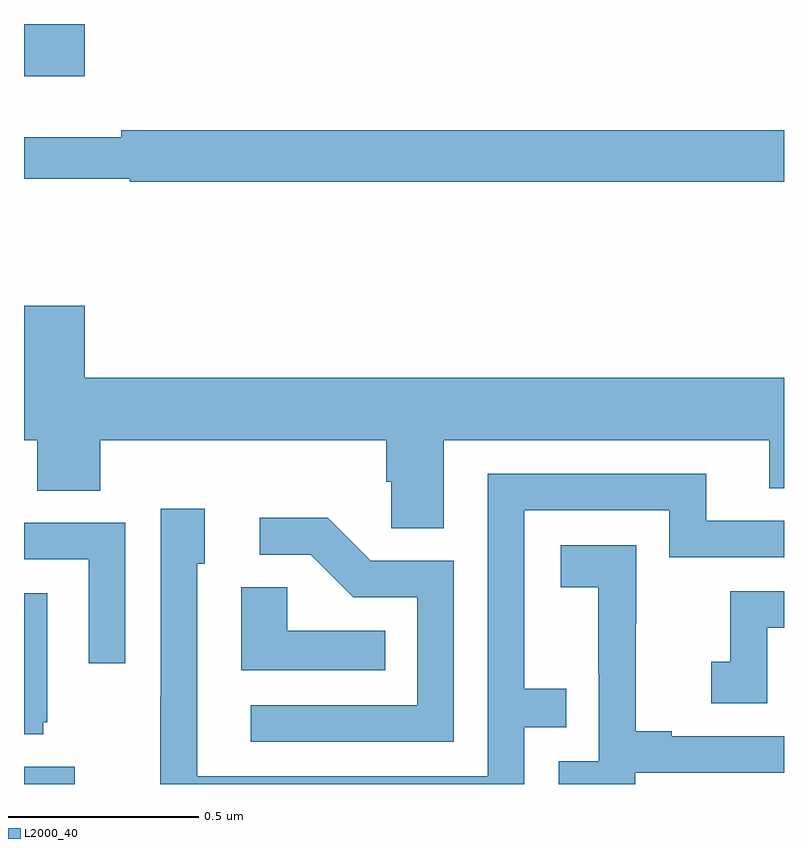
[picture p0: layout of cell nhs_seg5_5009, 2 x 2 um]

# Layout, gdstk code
import gdstk
lib = gdstk.Library(unit=1e-6, precision=1e-09)
def R(c, l, rs):  # rectangles x0, y0, x1, y1
    for r in rs: c.add(gdstk.rectangle(r[:2], r[2:], *l))
def P(c, l, *ps):  # polygons
    for p in ps: c.add(gdstk.Polygon(p, *l))
L2000_40 = (2000, 40)

nhs_seg5_5009 = lib.new_cell('nhs_seg5_5009')
R(nhs_seg5_5009, L2000_40, [(177,911.799,177.133,911.845), (177,913.662,177.16,913.799)])
P(nhs_seg5_5009, L2000_40, [(179,913.52),(177.256,913.52),(177.256,913.501),(177,913.501),(177,913.392),(177.278,913.392),(177.278,913.384),(179,913.384)],
  [(178.105,912.704),(178.961,912.704),(178.961,912.577),(179,912.577),(179,912.868),(177.16,912.868),(177.16,913.057),(177,913.057),(177,912.704),(177.035,912.704),(177.035,912.571),(177.2,912.571),(177.2,912.704),(177.953,912.704),(177.953,912.595),(177.966,912.595),(177.966,912.472),(178.105,912.472)],
  [(178.317,911.949),(178.427,911.949),(178.427,912.05),(178.317,912.05),(178.317,912.519),(178.698,912.519),(178.698,912.396),(179,912.396),(179,912.492),(178.795,912.492),(178.795,912.615),(178.221,912.615),(178.221,911.82),(177.456,911.82),(177.456,912.378),(177.475,912.378),(177.475,912.523),(177.36,912.523),(177.36,912.029),(177.358,912.029),(177.358,911.799),(178.317,911.799)],
  [(178.131,912.387),(177.912,912.387),(177.799,912.5),(177.621,912.5),(177.621,912.402),(177.755,912.402),(177.866,912.291),(178.035,912.291),(178.035,912.006),(177.597,912.006),(177.597,911.91),(178.131,911.91)],
  [(177.267,912.486),(177,912.486),(177,912.39),(177.171,912.39),(177.171,912.117),(177.267,912.117)],
  [(178.608,911.829),(179,911.829),(179,911.925),(178.705,911.925),(178.705,911.938),(178.61,911.938),(178.61,912.221),(178.611,912.221),(178.611,912.427),(178.413,912.427),(178.413,912.317),(178.511,912.317),(178.511,912.089),(178.512,912.089),(178.512,911.859),(178.407,911.859),(178.407,911.799),(178.608,911.799)],
  [(177.95,912.202),(177.693,912.202),(177.693,912.317),(177.572,912.317),(177.572,912.098),(177.95,912.098)],
  [(178.956,912.21),(179,912.21),(179,912.306),(178.858,912.306),(178.858,912.121),(178.809,912.121),(178.809,912.012),(178.956,912.012)],
  [(177.05,911.961),(177.061,911.961),(177.061,912.301),(177,912.301),(177,911.93),(177.05,911.93)])

lib.write_gds('nhs_seg5_5009.gds')
